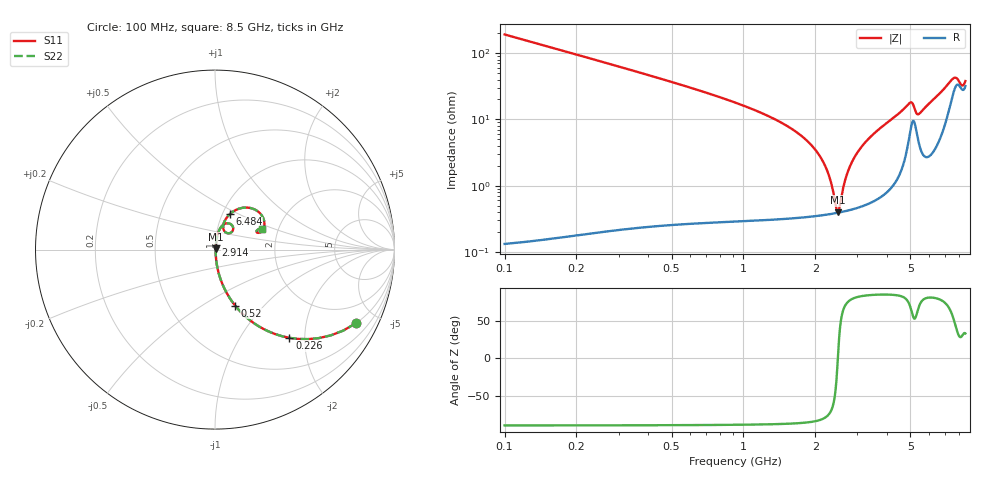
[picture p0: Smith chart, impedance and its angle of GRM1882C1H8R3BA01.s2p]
!Murata Part Number: GRM1882C1H8R3BA01
!These Parameters are Measured in Series Mode Connection
!Data Generated on Mar 30, 2021
!  o--ll--o
!Port1  Port2
!  o------o
!Operation Temp=25[degC], DC Bias Voltage=0[V]
!Freq. Start=100[MHz] Stop=9[GHz] 401[Steps]
# Hz S RI R 50
!Freq.(Hz) S11(Real) S11(Imag) S21(Real) S21(Imag) S12(Real) S12(Imag) S22(Real) S22(Imag)
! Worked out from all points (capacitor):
!   401 points, 100 MHz to 8.5 GHz, reference 50 ohm
!   read as one part in series: C = 8.31 pF near 142 MHz
!   lowest |Z| = 395 mohm at 2.494 GHz (marker M1)
!   series resonance near 2.485 GHz, so ESL is about 490 pH
!   S11 on the Smith chart (normalised r, x): 100 MHz: 1.00, -3.83; 226 MHz: 1.00, -1.68; 520 MHz: 1.01, -0.71; 2.914 GHz: 1.01, +0.05; 6.484 GHz: 1.08, +0.45; 8.5 GHz: 1.64, +0.41
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1e8  0.7854 -0.4102  0.2146 0.4102  0.2146 0.4102  0.7854 -0.4102
2.26e8  0.4144 -0.4915  0.5856 0.4915  0.5856 0.4915  0.4144 -0.4915
3.52e8  0.2225 -0.4138  0.7775 0.4138  0.7775 0.4138  0.2225 -0.4138
5.2e8  0.1123 -0.3121  0.8877 0.3121  0.8877 0.3121  0.1123 -0.3121
1.507e9  0.00968 -0.0805  0.9903 0.0805  0.9903 0.0805  0.00968 -0.0805
1.885e9  0.0053 -0.0438  0.9947 0.0438  0.9947 0.0438  0.0053 -0.0438
2.137e9  0.00413 -0.0239  0.9959 0.0239  0.9959 0.0239  0.00413 -0.0239
2.284e9  0.00387 -0.0134  0.9961 0.0134  0.9961 0.0134  0.00387 -0.0134
2.452e9  0.00386 -0.00215  0.9961 0.00215  0.9961 0.00215  0.00386 -0.00215
2.494e9  0.0039 0.000559  0.9961 -0.000559  0.9961 -0.000559  0.0039 0.000559
2.704e9  0.00433 0.0136  0.9957 -0.0136  0.9957 -0.0136  0.00433 0.0136
2.914e9  0.00513 0.026  0.9949 -0.026  0.9949 -0.026  0.00513 0.026
3.418e9  0.00847 0.0543  0.9915 -0.0543  0.9915 -0.0543  0.00847 0.0543
4.3e9  0.0221 0.1054  0.9779 -0.1054  0.9779 -0.1054  0.0221 0.1054
4.993e9  0.0836 0.144  0.9164 -0.144  0.9164 -0.144  0.0836 0.144
5.35e9  0.0623 0.0941  0.9377 -0.0941  0.9377 -0.0941  0.0623 0.0941
5.707e9  0.0457 0.1326  0.9543 -0.1326  0.9543 -0.1326  0.0457 0.1326
6.484e9  0.082 0.1969  0.918 -0.1969  0.918 -0.1969  0.082 0.1969
7.114e9  0.1605 0.2337  0.8395 -0.2337  0.8395 -0.2337  0.1605 0.2337
7.723e9  0.2726 0.164  0.7274 -0.164  0.7274 -0.164  0.2726 0.164
8.206e9  0.2342 0.0948  0.7658 -0.0948  0.7658 -0.0948  0.2342 0.0948
8.5e9  0.2594 0.1157  0.7406 -0.1157  0.7406 -0.1157  0.2594 0.1157
